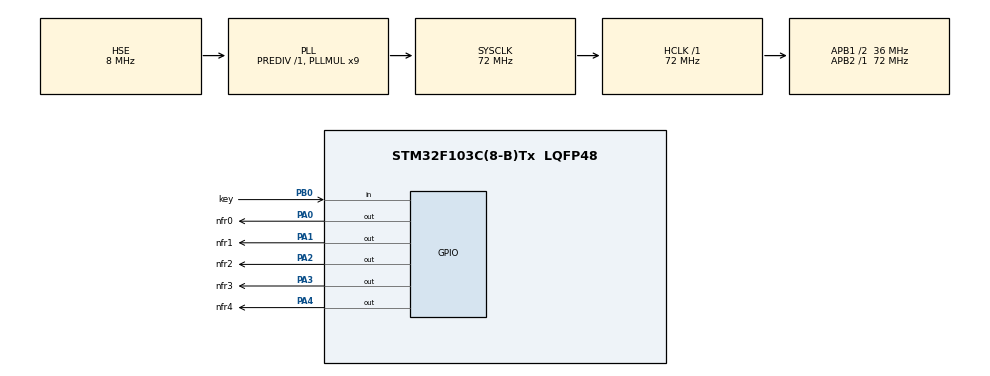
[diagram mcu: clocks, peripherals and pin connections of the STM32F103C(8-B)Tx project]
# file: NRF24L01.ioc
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Mcu.Family=STM32F1
Mcu.Name=STM32F103C(8-B)Tx
Mcu.Package=LQFP48
NVIC.PriorityGroup=NVIC_PRIORITYGROUP_4
PA0-WKUP.GPIO_Label=nfr0
PA0-WKUP.Signal=GPIO_Output
PA1.GPIO_Label=nfr1
PA1.Signal=GPIO_Output
PA13.Mode=Serial_Wire
PA13.Signal=SYS_JTMS-SWDIO
PA14.Mode=Serial_Wire
PA14.Signal=SYS_JTCK-SWCLK
PA2.GPIO_Label=nfr2
PA2.Signal=GPIO_Output
PA3.GPIO_Label=nfr3
PA3.Signal=GPIO_Output
PA4.GPIO_Label=nfr4
PA4.Signal=GPIO_Output
PB0.GPIO_Label=key
PB0.Signal=GPIO_Input
PD0-OSC_IN.Mode=HSE-External-Oscillator
PD0-OSC_IN.Signal=RCC_OSC_IN
PD1-OSC_OUT.Mode=HSE-External-Oscillator
PD1-OSC_OUT.Signal=RCC_OSC_OUT
ProjectManager.HeapSize=0x200
ProjectManager.StackSize=0x400
ProjectManager.TargetToolchain=MDK-ARM V5.32
RCC.AHBFreq_Value=72000000
RCC.APB1CLKDivider=RCC_HCLK_DIV2
RCC.APB1Freq_Value=36000000
RCC.APB1TimFreq_Value=72000000
RCC.APB2Freq_Value=72000000
RCC.APB2TimFreq_Value=72000000
RCC.HCLKFreq_Value=72000000
RCC.PLLMUL=RCC_PLL_MUL9
RCC.PLLSourceVirtual=RCC_PLLSOURCE_HSE
RCC.SYSCLKFreq_VALUE=72000000
RCC.SYSCLKSource=RCC_SYSCLKSOURCE_PLLCLK
RCC.USBFreq_Value=72000000
board=custom

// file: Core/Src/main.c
/* USER CODE BEGIN Header */
/**
  ******************************************************************************
  * @file           : main.c
  * @brief          : Main program body
  ******************************************************************************
  * @attention
  *
  * Copyright (c) 2025 STMicroelectronics.
  * All rights reserved.
  *
  * This software is licensed under terms that can be found in the LICENSE file
  * in the root directory of this software component.
  * If no LICENSE file comes with this software, it is provided AS-IS.
  *
  ******************************************************************************
  */
/* USER CODE END Header */
#include "main.h"
#include "gpio.h"

/* USER CODE BEGIN Includes */
#include "OLED.h"
#include "Key_block.h"
#include "NRF24L01.h"
#include "Delay.h"
/* USER CODE END Includes */

/* USER CODE BEGIN PV */
uint8_t KeyNum;

uint8_t SendFlag;								//发送标志位
uint8_t SendSuccessCount, SendFailedCount;		//发送成功计次，发送失败计次

uint8_t ReceiveFlag;							//接收标志位
uint8_t ReceiveSuccessCount, ReceiveFailedCount;//接收成功计次，接收失败计次

/* USER CODE END PV */

void SystemClock_Config(void);

int main(void)
{

  /* MCU Configuration--------------------------------------------------------*/

  /* Reset of all peripherals, Initializes the Flash interface and the Systick. */
  HAL_Init();

  /* Configure the system clock */
  SystemClock_Config();

  /* Initialize all configured peripherals */
  MX_GPIO_Init();
  /* USER CODE BEGIN 2 */
	OLED_Init();
	Key_Init();
	NRF24L01_Init();
  /* USER CODE END 2 */

  /* Infinite loop */
  /* USER CODE BEGIN WHILE */
	OLED_ShowString(1, 1, "T:000-000-0");		//格式为：T:发送成功计次-发送失败计次-发送标志位
	OLED_ShowString(3, 1, "R:000-000-0");		//格式为：R:接收成功计次-接收失败计次-接收标志位

	/*初始化测试数据，此处值为任意设定，便于观察实验现象*/
	NRF24L01_TxPacket[0] = 0x00;
	NRF24L01_TxPacket[1] = 0x01;
	NRF24L01_TxPacket[2] = 0x02;
	NRF24L01_TxPacket[3] = 0x03;

  while (1)
  {
		KeyNum = Key_GetNum();			//读取按键，获取键码

		if (KeyNum == 1)				//K1按下
		{
			/*变换测试数据，便于观察实验现象*/
			/*实际项目中，可以将待发送的数据赋值给NRF24L01_TxPacket数组*/
			NRF24L01_TxPacket[0] ++;
			NRF24L01_TxPacket[1] ++;
			NRF24L01_TxPacket[2] ++;
			NRF24L01_TxPacket[3] ++;

			/*调用NRF24L01_Send函数，发送数据，同时返回发送标志位，方便用户了解发送状态*/
			/*发送标志位与发送状态的对应关系，可以转到此函数定义上方查看*/
			SendFlag = NRF24L01_Send();

			if (SendFlag == 1)			//发送标志位为1，表示发送成功
			{
				SendSuccessCount ++;	//发送成功计次变量自增
			}
			else						//发送标志位不为1，即2/3/4，表示发送不成功
			{
				SendFailedCount ++;		//发送失败计次变量自增
			}

			OLED_ShowNum(1, 3, SendSuccessCount, 3);	//显示发送成功次数
			OLED_ShowNum(1, 7, SendFailedCount, 3);		//显示发送失败次数
			OLED_ShowNum(1, 11, SendFlag, 1);			//显示最近一次的发送标志位

			/*显示发送数据*/
			OLED_ShowHexNum(2, 1, NRF24L01_TxPacket[0], 2);
			OLED_ShowHexNum(2, 4, NRF24L01_TxPacket[1], 2);
			OLED_ShowHexNum(2, 7, NRF24L01_TxPacket[2], 2);
			OLED_ShowHexNum(2, 10, NRF24L01_TxPacket[3], 2);

			/*TX字符串闪烁一次，表明发送了一次数据*/
			OLED_ShowString(1, 15, "TX");
			Delay_ms(100);
			OLED_ShowString(1, 15, "  ");
		}

		/*主循环内循环执行NRF24L01_Receive函数，接收数据，同时返回接收标志位，方便用户了解接收状态*/
		/*接收标志位与接收状态的对应关系，可以转到此函数定义上方查看*/
		ReceiveFlag = NRF24L01_Receive();

		if (ReceiveFlag)				//接收标志位不为0，表示收到了一个数据包
		{
			if (ReceiveFlag == 1)		//接收标志位为1，表示接收成功
			{
				ReceiveSuccessCount ++;	//接收成功计次变量自增
			}
			else	//接收标志位不为0也不为1，即2/3，表示此次接收产生了错误，错误接收的数据不应该使用
			{
				ReceiveFailedCount ++;	//接收失败计次变量自增
			}

			OLED_ShowNum(3, 3, ReceiveSuccessCount, 3);	//显示接收成功次数
			OLED_ShowNum(3, 7, ReceiveFailedCount, 3);	//显示接收失败次数
			OLED_ShowNum(3, 11, ReceiveFlag, 1);		//显示最近一次的接收标志位

			/*显示接收数据*/
			OLED_ShowHexNum(4, 1, NRF24L01_RxPacket[0], 2);
			OLED_ShowHexNum(4, 4, NRF24L01_RxPacket[1], 2);
			OLED_ShowHexNum(4, 7, NRF24L01_RxPacket[2], 2);
			OLED_ShowHexNum(4, 10, NRF24L01_RxPacket[3], 2);

			/*RX字符串闪烁一次，表明接收到了一次数据*/
			OLED_ShowString(3, 15, "RX");
			Delay_ms(100);
			OLED_ShowString(3, 15, "  ");
		}
    /* USER CODE END WHILE */

  }
}

void SystemClock_Config(void)
{
  RCC_OscInitTypeDef RCC_OscInitStruct = {0};
  RCC_ClkInitTypeDef RCC_ClkInitStruct = {0};

  /** Initializes the RCC Oscillators according to the specified parameters
  * in the RCC_OscInitTypeDef structure.
  */
  RCC_OscInitStruct.OscillatorType = RCC_OSCILLATORTYPE_HSE;
  RCC_OscInitStruct.HSEState = RCC_HSE_ON;
  RCC_OscInitStruct.HSEPredivValue = RCC_HSE_PREDIV_DIV1;
  RCC_OscInitStruct.HSIState = RCC_HSI_ON;
  RCC_OscInitStruct.PLL.PLLState = RCC_PLL_ON;
  RCC_OscInitStruct.PLL.PLLSource = RCC_PLLSOURCE_HSE;
  RCC_OscInitStruct.PLL.PLLMUL = RCC_PLL_MUL9;
  if (HAL_RCC_OscConfig(&RCC_OscInitStruct) != HAL_OK)
  {
    Error_Handler();
  }

  /** Initializes the CPU, AHB and APB buses clocks
  */
  RCC_ClkInitStruct.ClockType = RCC_CLOCKTYPE_HCLK|RCC_CLOCKTYPE_SYSCLK
                              |RCC_CLOCKTYPE_PCLK1|RCC_CLOCKTYPE_PCLK2;
  RCC_ClkInitStruct.SYSCLKSource = RCC_SYSCLKSOURCE_PLLCLK;
  RCC_ClkInitStruct.AHBCLKDivider = RCC_SYSCLK_DIV1;
  RCC_ClkInitStruct.APB1CLKDivider = RCC_HCLK_DIV2;
  RCC_ClkInitStruct.APB2CLKDivider = RCC_HCLK_DIV1;

  if (HAL_RCC_ClockConfig(&RCC_ClkInitStruct, FLASH_LATENCY_2) != HAL_OK)
  {
    Error_Handler();
  }
}

void Error_Handler(void)
{
  __disable_irq();
  while (1)
  {
  }
}
